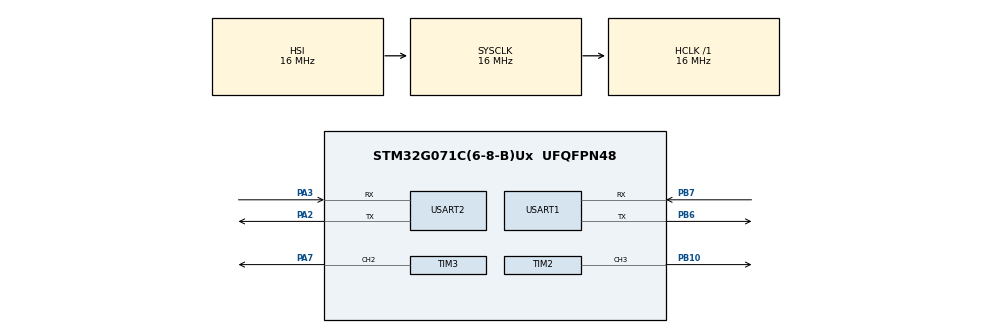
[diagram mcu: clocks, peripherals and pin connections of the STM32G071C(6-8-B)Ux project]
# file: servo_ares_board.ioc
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Mcu.Family=STM32G0
Mcu.Name=STM32G071C(6-8-B)Ux
Mcu.Package=UFQFPN48
PA2.Mode=Asynchronous
PA2.Signal=USART2_TX
PA3.Mode=Asynchronous
PA3.Signal=USART2_RX
PA7.Signal=S_TIM3_CH2
PB10.Signal=S_TIM2_CH3
PB6.Mode=Asynchronous
PB6.Signal=USART1_TX
PB7.Mode=Asynchronous
PB7.Signal=USART1_RX
ProjectManager.HeapSize=0x200
ProjectManager.StackSize=0x400
ProjectManager.TargetToolchain=STM32CubeIDE
RCC.AHBFreq_Value=16000000
RCC.CortexFreq_Value=16000000
RCC.EXTERNAL_CLOCK_VALUE=48000
RCC.HCLKFreq_Value=16000000
RCC.HSE_VALUE=8000000
RCC.HSI_VALUE=16000000
RCC.LSE_VALUE=32768
RCC.SYSCLKFreq_VALUE=16000000
RCC.VCOOutputFreq_Value=128000000
SH.S_TIM2_CH3.0=TIM2_CH3,PWM Generation3 CH3
SH.S_TIM3_CH2.0=TIM3_CH2,PWM Generation2 CH2
TIM2.AutoReloadPreload=TIM_AUTORELOAD_PRELOAD_ENABLE
TIM2.Channel-PWM\ Generation3\ CH3=TIM_CHANNEL_3
TIM2.Period=3002-1
TIM2.Prescaler=16-1
TIM3.AutoReloadPreload=TIM_AUTORELOAD_PRELOAD_ENABLE
TIM3.Channel-PWM\ Generation2\ CH2=TIM_CHANNEL_2
TIM3.Period=3002-1
TIM3.Prescaler=16-1
USART1.VirtualMode-Asynchronous=VM_ASYNC
USART2.VirtualMode-Asynchronous=VM_ASYNC
VP_TIM2_VS_ClockSourceINT.Mode=Internal
VP_TIM3_VS_ClockSourceINT.Mode=Internal
board=custom

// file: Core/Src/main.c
/* USER CODE BEGIN Header */
/**
 ******************************************************************************
 * @file           : main.c
 * @brief          : Main program body
 ******************************************************************************
 * @attention
 *
 * Copyright (c) 2025 STMicroelectronics.
 * All rights reserved.
 *
 * This software is licensed under terms that can be found in the LICENSE file
 * in the root directory of this software component.
 * If no LICENSE file comes with this software, it is provided AS-IS.
 *
 ******************************************************************************
 */
/* USER CODE END Header */
#include "main.h"

/* USER CODE BEGIN Includes */
#include <stdlib.h>
#include <string.h>
#include <stdio.h>
/* USER CODE END Includes */

TIM_HandleTypeDef htim2;
TIM_HandleTypeDef htim3;

UART_HandleTypeDef huart1;
UART_HandleTypeDef huart2;

/* USER CODE BEGIN PV */
char rx_data[3];
/* USER CODE END PV */

void SystemClock_Config(void);
static void MX_GPIO_Init(void);
static void MX_TIM2_Init(void);
static void MX_USART1_UART_Init(void);
static void MX_USART2_UART_Init(void);
static void MX_TIM3_Init(void);

int main(void)
{

  /* MCU Configuration--------------------------------------------------------*/

  /* Reset of all peripherals, Initializes the Flash interface and the Systick. */
  HAL_Init();

  /* Configure the system clock */
  SystemClock_Config();

  /* Initialize all configured peripherals */
  MX_GPIO_Init();
  MX_TIM2_Init();
  MX_USART1_UART_Init();
  MX_USART2_UART_Init();
  MX_TIM3_Init();
  /* USER CODE BEGIN 2 */
  HAL_TIM_PWM_Start(&htim3, TIM_CHANNEL_2);
  /* USER CODE END 2 */

  /* Infinite loop */
  /* USER CODE BEGIN WHILE */
	while (1)
	{

		char message[5]; // 3 caractères de rx_data + 2 pour "\r\n"
		memcpy(message, rx_data, 3); // Copier rx_data dans message
		message[4] = '\r'; // Ajouter retour chariot
		message[5] = '\n'; // Ajouter nouvelle ligne
		HAL_UART_Transmit(&huart2, (uint8_t *)message, sizeof(message), HAL_MAX_DELAY);

		char servo[4];      // 3 caractères + '\0' pour la vitesse
		strncpy(servo, (char *)&rx_data, 3);
		servo[4] = '\0';    // Null terminate
		int servo_value = atoi(servo);

		if (servo_value == 111){
			TIM3->CCR2 = 2000;
			HAL_Delay(100);
			TIM3->CCR2 = 1200;
			HAL_Delay(100);

		}

		//		// Attente de la réception d'un caractère via UART (bloquant)
		//		if (HAL_UART_Receive(&huart1, (uint8_t *)&receivedChar, 1, HAL_MAX_DELAY) == 111)
		//		{
		//			if (receivedChar == '1')
		//			{
		//				goal = 1;  // Position haute
		//			}
//			else if (receivedChar == '0')
//			{
//				goal = 0;  // Position basse
//			}
//		}
//
//		// Mise à jour de la position du servo
//		if (goal == 1)
//		{
//			TIM2->CCR3 = 2000;  // Position haute
//		}
//		else
//		{
//			TIM2->CCR3 = 1200;  // Position basse
//		}

		//	  for (pos = 900; pos <= 2900; pos += 100) {
		//		  TIM2->CCR3 = pos;
		//		  HAL_Delay(10);  // Vitesse de la rampe
		//	  }
		//
		//	  HAL_Delay(500);  // Pause en haut
		//
		//	  // Redescendre de 2000 à 1000 progressivement
		//	  for (pos = 2900; pos >= 900; pos -= 100) {
		//		  TIM2->CCR3 = pos;
		//		  HAL_Delay(10);  // Vitesse de la rampe
		//	  }
		//
		//	  HAL_Delay(500);  // Pause en bas

    /* USER CODE END WHILE */

	}
}

void SystemClock_Config(void)
{
  RCC_OscInitTypeDef RCC_OscInitStruct = {0};
  RCC_ClkInitTypeDef RCC_ClkInitStruct = {0};

  /** Configure the main internal regulator output voltage
  */
  HAL_PWREx_ControlVoltageScaling(PWR_REGULATOR_VOLTAGE_SCALE1);

  /** Initializes the RCC Oscillators according to the specified parameters
  * in the RCC_OscInitTypeDef structure.
  */
  RCC_OscInitStruct.OscillatorType = RCC_OSCILLATORTYPE_HSI;
  RCC_OscInitStruct.HSIState = RCC_HSI_ON;
  RCC_OscInitStruct.HSIDiv = RCC_HSI_DIV1;
  RCC_OscInitStruct.HSICalibrationValue = RCC_HSICALIBRATION_DEFAULT;
  RCC_OscInitStruct.PLL.PLLState = RCC_PLL_NONE;
  if (HAL_RCC_OscConfig(&RCC_OscInitStruct) != HAL_OK)
  {
    Error_Handler();
  }

  /** Initializes the CPU, AHB and APB buses clocks
  */
  RCC_ClkInitStruct.ClockType = RCC_CLOCKTYPE_HCLK|RCC_CLOCKTYPE_SYSCLK
                              |RCC_CLOCKTYPE_PCLK1;
  RCC_ClkInitStruct.SYSCLKSource = RCC_SYSCLKSOURCE_HSI;
  RCC_ClkInitStruct.AHBCLKDivider = RCC_SYSCLK_DIV1;
  RCC_ClkInitStruct.APB1CLKDivider = RCC_HCLK_DIV1;

  if (HAL_RCC_ClockConfig(&RCC_ClkInitStruct, FLASH_LATENCY_0) != HAL_OK)
  {
    Error_Handler();
  }
}

static void MX_TIM2_Init(void)
{

  TIM_ClockConfigTypeDef sClockSourceConfig = {0};
  TIM_MasterConfigTypeDef sMasterConfig = {0};
  TIM_OC_InitTypeDef sConfigOC = {0};

  htim2.Instance = TIM2;
  htim2.Init.Prescaler = 16-1;
  htim2.Init.CounterMode = TIM_COUNTERMODE_UP;
  htim2.Init.Period = 3002-1;
  htim2.Init.ClockDivision = TIM_CLOCKDIVISION_DIV1;
  htim2.Init.AutoReloadPreload = TIM_AUTORELOAD_PRELOAD_ENABLE;
  if (HAL_TIM_Base_Init(&htim2) != HAL_OK)
  {
    Error_Handler();
  }
  sClockSourceConfig.ClockSource = TIM_CLOCKSOURCE_INTERNAL;
  if (HAL_TIM_ConfigClockSource(&htim2, &sClockSourceConfig) != HAL_OK)
  {
    Error_Handler();
  }
  if (HAL_TIM_PWM_Init(&htim2) != HAL_OK)
  {
    Error_Handler();
  }
  sMasterConfig.MasterOutputTrigger = TIM_TRGO_RESET;
  sMasterConfig.MasterSlaveMode = TIM_MASTERSLAVEMODE_DISABLE;
  if (HAL_TIMEx_MasterConfigSynchronization(&htim2, &sMasterConfig) != HAL_OK)
  {
    Error_Handler();
  }
  sConfigOC.OCMode = TIM_OCMODE_PWM1;
  sConfigOC.Pulse = 0;
  sConfigOC.OCPolarity = TIM_OCPOLARITY_HIGH;
  sConfigOC.OCFastMode = TIM_OCFAST_DISABLE;
  if (HAL_TIM_PWM_ConfigChannel(&htim2, &sConfigOC, TIM_CHANNEL_3) != HAL_OK)
  {
    Error_Handler();
  }
  HAL_TIM_MspPostInit(&htim2);

}

static void MX_TIM3_Init(void)
{

  TIM_ClockConfigTypeDef sClockSourceConfig = {0};
  TIM_MasterConfigTypeDef sMasterConfig = {0};
  TIM_OC_InitTypeDef sConfigOC = {0};

  htim3.Instance = TIM3;
  htim3.Init.Prescaler = 16-1;
  htim3.Init.CounterMode = TIM_COUNTERMODE_UP;
  htim3.Init.Period = 3002-1;
  htim3.Init.ClockDivision = TIM_CLOCKDIVISION_DIV1;
  htim3.Init.AutoReloadPreload = TIM_AUTORELOAD_PRELOAD_ENABLE;
  if (HAL_TIM_Base_Init(&htim3) != HAL_OK)
  {
    Error_Handler();
  }
  sClockSourceConfig.ClockSource = TIM_CLOCKSOURCE_INTERNAL;
  if (HAL_TIM_ConfigClockSource(&htim3, &sClockSourceConfig) != HAL_OK)
  {
    Error_Handler();
  }
  if (HAL_TIM_PWM_Init(&htim3) != HAL_OK)
  {
    Error_Handler();
  }
  sMasterConfig.MasterOutputTrigger = TIM_TRGO_RESET;
  sMasterConfig.MasterSlaveMode = TIM_MASTERSLAVEMODE_DISABLE;
  if (HAL_TIMEx_MasterConfigSynchronization(&htim3, &sMasterConfig) != HAL_OK)
  {
    Error_Handler();
  }
  sConfigOC.OCMode = TIM_OCMODE_PWM1;
  sConfigOC.Pulse = 0;
  sConfigOC.OCPolarity = TIM_OCPOLARITY_HIGH;
  sConfigOC.OCFastMode = TIM_OCFAST_DISABLE;
  if (HAL_TIM_PWM_ConfigChannel(&htim3, &sConfigOC, TIM_CHANNEL_2) != HAL_OK)
  {
    Error_Handler();
  }
  HAL_TIM_MspPostInit(&htim3);

}

static void MX_USART1_UART_Init(void)
{

  huart1.Instance = USART1;
  huart1.Init.BaudRate = 115200;
  huart1.Init.WordLength = UART_WORDLENGTH_8B;
  huart1.Init.StopBits = UART_STOPBITS_1;
  huart1.Init.Parity = UART_PARITY_NONE;
  huart1.Init.Mode = UART_MODE_TX_RX;
  huart1.Init.HwFlowCtl = UART_HWCONTROL_NONE;
  huart1.Init.OverSampling = UART_OVERSAMPLING_16;
  huart1.Init.OneBitSampling = UART_ONE_BIT_SAMPLE_DISABLE;
  huart1.Init.ClockPrescaler = UART_PRESCALER_DIV1;
  huart1.AdvancedInit.AdvFeatureInit = UART_ADVFEATURE_NO_INIT;
  if (HAL_UART_Init(&huart1) != HAL_OK)
  {
    Error_Handler();
  }
  if (HAL_UARTEx_SetTxFifoThreshold(&huart1, UART_TXFIFO_THRESHOLD_1_8) != HAL_OK)
  {
    Error_Handler();
  }
  if (HAL_UARTEx_SetRxFifoThreshold(&huart1, UART_RXFIFO_THRESHOLD_1_8) != HAL_OK)
  {
    Error_Handler();
  }
  if (HAL_UARTEx_DisableFifoMode(&huart1) != HAL_OK)
  {
    Error_Handler();
  }

}

static void MX_USART2_UART_Init(void)
{

  huart2.Instance = USART2;
  huart2.Init.BaudRate = 115200;
  huart2.Init.WordLength = UART_WORDLENGTH_8B;
  huart2.Init.StopBits = UART_STOPBITS_1;
  huart2.Init.Parity = UART_PARITY_NONE;
  huart2.Init.Mode = UART_MODE_TX_RX;
  huart2.Init.HwFlowCtl = UART_HWCONTROL_NONE;
  huart2.Init.OverSampling = UART_OVERSAMPLING_16;
  huart2.Init.OneBitSampling = UART_ONE_BIT_SAMPLE_DISABLE;
  huart2.Init.ClockPrescaler = UART_PRESCALER_DIV1;
  huart2.AdvancedInit.AdvFeatureInit = UART_ADVFEATURE_NO_INIT;
  if (HAL_UART_Init(&huart2) != HAL_OK)
  {
    Error_Handler();
  }
  if (HAL_UARTEx_SetTxFifoThreshold(&huart2, UART_TXFIFO_THRESHOLD_1_8) != HAL_OK)
  {
    Error_Handler();
  }
  if (HAL_UARTEx_SetRxFifoThreshold(&huart2, UART_RXFIFO_THRESHOLD_1_8) != HAL_OK)
  {
    Error_Handler();
  }
  if (HAL_UARTEx_DisableFifoMode(&huart2) != HAL_OK)
  {
    Error_Handler();
  }

}

static void MX_GPIO_Init(void)
{

  /* GPIO Ports Clock Enable */
  __HAL_RCC_GPIOA_CLK_ENABLE();
  __HAL_RCC_GPIOB_CLK_ENABLE();

}

/* USER CODE BEGIN 4 */
void HAL_UART_RxCpltCallback(UART_HandleTypeDef *huart)
{
	if (huart == &huart1) {
		// Réactiver la réception immédiatement
		HAL_UART_Receive_IT(&huart1, (uint8_t *)rx_data, sizeof(rx_data));
	}
}
/* USER CODE END 4 */

void Error_Handler(void)
{
	__disable_irq();
	while (1)
	{
	}
}
